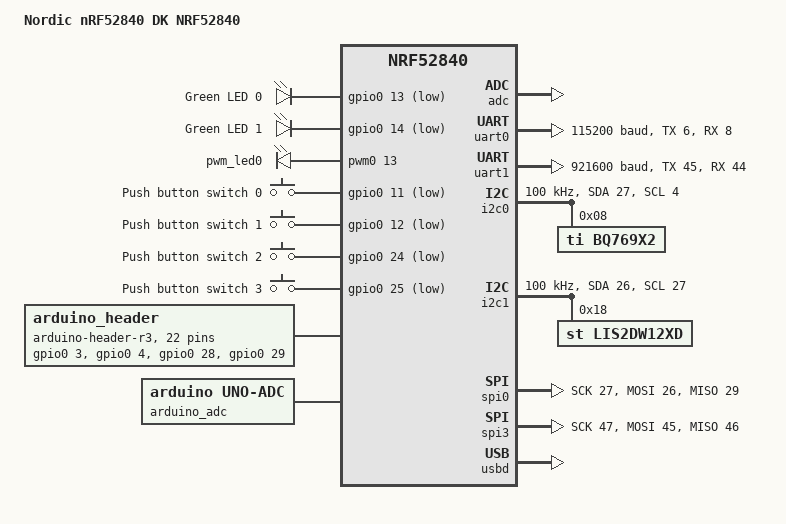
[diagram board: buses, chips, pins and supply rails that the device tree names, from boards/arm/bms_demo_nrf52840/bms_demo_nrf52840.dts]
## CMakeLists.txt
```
# SPDX-License-Identifier: Apache-2.0

cmake_minimum_required(VERSION 3.13.1)

set(BOARD_ROOT ${CMAKE_CURRENT_LIST_DIR})
set(BOARD bms_demo_nrf52840)

find_package(Zephyr REQUIRED HINTS $ENV{ZEPHYR_BASE})
project(bms_demo)

target_sources(app PRIVATE src/main.c)

# zephyr_library_include_directories(.)
zephyr_include_directories(
  src/include/drivers
#   configuration/${BOARD}
)

# Application sources
add_subdirectory(src/app)
add_subdirectory(src/drivers)



include_directories(src/app)
include_directories(src/drivers)
include_directories(src/app/st_mems1_datalogextended)

# Drivers directories
# add_subdirectory_ifdef(CONFIG_WATCHDOG_APPLICATION src/drivers/watchdog)
# add_subdirectory_ifdef(CONFIG_N58 src/drivers/nw_n58)
```

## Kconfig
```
source "Kconfig.zephyr"
rsource "src/drivers/Kconfig"

menu "Nordic UART BLE GATT service sample"

config BT_NUS_SECURITY_ENABLED
	bool "Enable security"
	default n
	select BT_SMP
	help
	  "Enable BLE security for the UART service"


endmenu
```

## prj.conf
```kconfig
# Make sure printk is not printing to the UART console
CONFIG_CONSOLE=y
CONFIG_UART_CONSOLE=y

CONFIG_HEAP_MEM_POOL_SIZE=18432

CONFIG_GPIO=y

####### BLE_UART #############
# # Enable the UART driver
# CONFIG_UART_ASYNC_API=y
# CONFIG_NRFX_UARTE0=y
# CONFIG_SERIAL=y

# CONFIG_BT=y
# CONFIG_BT_SMP=y
# CONFIG_BT_PERIPHERAL=y
# # CONFIG_BT_DEVICE_NAME="Nordic_UART_Service"
# CONFIG_BT_DEVICE_APPEARANCE=833
# CONFIG_BT_MAX_CONN=1
# CONFIG_BT_MAX_PAIRED=1
# CONFIG_BT_NUS_SECURITY_ENABLED=y

# # Enable the NUS service
# CONFIG_BT_NUS=y

# # Enable bonding
# CONFIG_BT_SETTINGS=y
# CONFIG_FLASH=y
# CONFIG_FLASH_PAGE_LAYOUT=y
# CONFIG_FLASH_MAP=y
# CONFIG_NVS=y
# CONFIG_SETTINGS=y
#############################

####### BLE #############
# Enable the UART driver
# CONFIG_UART_ASYNC_API=y
# CONFIG_NRFX_UARTE0=y
# CONFIG_SERIAL=y

CONFIG_BT=y
CONFIG_BT_SMP=y
CONFIG_BT_PERIPHERAL=y
# CONFIG_BT_DEVICE_NAME="Nordic_UART_Service"
CONFIG_BT_DEVICE_APPEARANCE=833
CONFIG_BT_MAX_CONN=1
CONFIG_BT_MAX_PAIRED=1
CONFIG_BT_NUS_SECURITY_ENABLED=y

# Enable the NUS service
CONFIG_BT_NUS=y

# Enable bonding
CONFIG_BT_SETTINGS=y
CONFIG_FLASH=y
CONFIG_FLASH_PAGE_LAYOUT=y
CONFIG_FLASH_MAP=y
CONFIG_NVS=y
CONFIG_SETTINGS=y
#############################

#bq769x2
# CONFIG_I2C=y
# CONFIG_SENSOR=y
# CONFIG_BQ769x2=y
# # CONFIG_BQ769x2_I2C_CRC_MODE=y
# CONFIG_BQ769x2_CONNECTING_CELLS=16


# uart
CONFIG_UART_ASYNC_API=y
CONFIG_NRFX_UARTE1=y
CONFIG_SERIAL=y


#lisdw12
# CONFIG_STDOUT_CONSOLE=y
CONFIG_I2C=y
CONFIG_SENSOR=y
CONFIG_SENSOR_LOG_LEVEL_DBG=y
# CONFIG_CBPRINTF_FP_SUPPORT=y

# CONFIG_LIS2DW12=y
# CONFIG_LIS2DW12_TRIGGER_NONE=y

CONFIG_LIS2DW12XD=y
CONFIG_LIS2DW12XD_TRIGGER_NONE=y

CONFIG_NEWLIB_LIBC=y

# #cat1
# # UART support
# CONFIG_SERIAL=y

# # GSM modem support
# # CONFIG_MODEM=y
# # CONFIG_MODEM_GSM_PPP=y
# # CONFIG_MODEM_GSM_UART_NAME="UART_1"

# CONFIG_MODEM_CAT1=y
# CONFIG_MODEM_CAT1_PPP=y
# CONFIG_MODEM_CAT1_UART_NAME="UART_1"
# # CONFIG_NET_PPP_UART_NAME="UART_1"
# CONFIG_CAT1_MODEM_DEVICE_NAME="MODEM_CAT11"


# Enable the MQTT Lib
# CONFIG_MQTT_LIB=y


# PPP networking support
# CONFIG_NET_PPP=y
# CONFIG_NET_L2_PPP=y
# CONFIG_NET_NATIVE=y
# CONFIG_NETWORKING=y

# CONFIG_NET_L2_PPP_TIMEOUT=10000
# IPv4 enables PPP IPCP support
# CONFIG_NET_IPV4=n #y
# CONFIG_NET_IPV6=n

# Network management events
# CONFIG_NET_CONNECTION_MANAGER=n #y

# Log buffers, modem and PPP
CONFIG_LOG=y
# CONFIG_NET_LOG=y
#CONFIG_LOG_BUFFER_SIZE=16384
#CONFIG_LOG_STRDUP_BUF_COUNT=200
# CONFIG_MODEM_LOG_LEVEL_DBG=y
# CONFIG_NET_PPP_LOG_LEVEL_DBG=y
#CONFIG_NET_L2_PPP_LOG_LEVEL_DBG=y
#CONFIG_NET_MGMT_EVENT_LOG_LEVEL_DBG=y
#CONFIG_NET_CONNECTION_MANAGER_LOG_LEVEL_DBG=y

# CONFIG_NET_SHELL=y
# CONFIG_MODEM_SHELL=y

# CONFIG_MODEM_CONTEXT=y

# Enable DK LED and Buttons library
CONFIG_DK_LIBRARY=y

# This example requires more workqueue stack
CONFIG_SYSTEM_WORKQUEUE_STACK_SIZE=2048

# Config logger
CONFIG_LOG=y
CONFIG_USE_SEGGER_RTT=y
CONFIG_LOG_BACKEND_RTT=y
CONFIG_LOG_BACKEND_UART=n
# - 0 OFF, do not write by default
# - 1 ERROR, default to only write LOG_LEVEL_ERR
# - 2 WARNING, default to write LOG_LEVEL_WRN
# - 3 INFO, default to write LOG_LEVEL_INFO
# - 4 DEBUG, default to write LOG_LEVEL_DBG
CONFIG_LOG_DEFAULT_LEVEL=4
CONFIG_LOG_BACKEND_SHOW_COLOR=y
CONFIG_LOG_BUFFER_SIZE=9126
CONFIG_LOG_MODE_DEFERRED=y
CONFIG_PRINTK=n


# CONFIG_BT_DEBUG_LOG=y
# CONFIG_BT_DBG_ENABLED=y
# CONFIG_BT_LOG_LEVEL_DBG=y

CONFIG_ASSERT=y
```

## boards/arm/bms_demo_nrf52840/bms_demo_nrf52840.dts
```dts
/*
 * Copyright (c) 2017 Linaro Limited
 *
 * SPDX-License-Identifier: Apache-2.0
 */

/dts-v1/;
#include <nordic/nrf52840_qiaa.dtsi>

/ {
	model = "Nordic nRF52840 DK NRF52840";
	compatible = "nordic,nrf52840-dk-nrf52840";

	chosen {
		zephyr,console = &uart0;
		zephyr,shell-uart = &uart0;
		zephyr,uart-mcumgr = &uart0;
		zephyr,bt-mon-uart = &uart0;
		zephyr,bt-c2h-uart = &uart0;
		zephyr,sram = &sram0;
		zephyr,flash = &flash0;
		zephyr,code-partition = &slot0_partition;
	};

	leds {
		compatible = "gpio-leds";
		// led0: led_0 {
		// 	gpios = <&gpio0 9 GPIO_ACTIVE_LOW>;
		// 	label = "Green LED 0";
		// };
		// led1: led_1 {
		// 	gpios = <&gpio0 10 GPIO_ACTIVE_LOW>;
		// 	label = "Green LED 1";
		// };
		led0: led_0 {
			gpios = <&gpio0 13 GPIO_ACTIVE_LOW>;
			label = "Green LED 0";
		};
		led1: led_1 {
			gpios = <&gpio0 14 GPIO_ACTIVE_LOW>;
			label = "Green LED 1";
		};
		// led2: led_2 {
		// 	gpios = <&gpio0 15 GPIO_ACTIVE_LOW>;
		// 	label = "Green LED 2";
		// };
		// led3: led_3 {
		// 	gpios = <&gpio0 16 GPIO_ACTIVE_LOW>;
		// 	label = "Green LED 3";
		// };
	};

	pwmleds {
		compatible = "pwm-leds";
		pwm_led0: pwm_led_0 {
			pwms = <&pwm0 13>;
		};
	};

	buttons {
		compatible = "gpio-keys";
		button0: button_0 {
			gpios = <&gpio0 11 (GPIO_PULL_UP | GPIO_ACTIVE_LOW)>;
			label = "Push button switch 0";
		};
		button1: button_1 {
			gpios = <&gpio0 12 (GPIO_PULL_UP | GPIO_ACTIVE_LOW)>;
			label = "Push button switch 1";
		};
		button2: button_2 {
			gpios = <&gpio0 24 (GPIO_PULL_UP | GPIO_ACTIVE_LOW)>;
			label = "Push button switch 2";
		};
		button3: button_3 {
			gpios = <&gpio0 25 (GPIO_PULL_UP | GPIO_ACTIVE_LOW)>;
			label = "Push button switch 3";
		};
	};

	arduino_header: connector {
		compatible = "arduino-header-r3";
		#gpio-cells = <2>;
		gpio-map-mask = <0xffffffff 0xffffffc0>;
		gpio-map-pass-thru = <0 0x3f>;
		gpio-map = <0 0 &gpio0 3 0>,	/* A0 */
			   <1 0 &gpio0 4 0>,	/* A1 */
			   <2 0 &gpio0 28 0>,	/* A2 */
			   <3 0 &gpio0 29 0>,	/* A3 */
			   <4 0 &gpio0 30 0>,	/* A4 */
			   <5 0 &gpio0 31 0>,	/* A5 */
			   <6 0 &gpio1 1 0>,	/* D0 */
			   <7 0 &gpio1 2 0>,	/* D1 */
			   <8 0 &gpio1 3 0>,	/* D2 */
			   <9 0 &gpio1 4 0>,	/* D3 */
			   <10 0 &gpio1 5 0>,	/* D4 */
			   <11 0 &gpio1 6 0>,	/* D5 */
			   <12 0 &gpio1 7 0>,	/* D6 */
			   <13 0 &gpio1 8 0>,	/* D7 */
			   <14 0 &gpio1 10 0>,	/* D8 */
			   <15 0 &gpio1 11 0>,	/* D9 */
			   <16 0 &gpio1 12 0>,	/* D10 */
			   <17 0 &gpio1 13 0>,	/* D11 */
			   <18 0 &gpio1 14 0>,	/* D12 */
			   <19 0 &gpio1 15 0>,	/* D13 */
			   <20 0 &gpio0 26 0>,	/* D14 */
			   <21 0 &gpio0 27 0>;	/* D15 */
	};

	arduino_adc: analog-connector {
		compatible = "arduino,uno-adc";
		#io-channel-cells = <1>;
		io-channel-map = <0 &adc 1>,	/* A0 = P0.3 = AIN1 */
				 <1 &adc 2>,	/* A1 = P0.4 = AIN2 */
				 <2 &adc 4>,	/* A2 = P0.28 = AIN4 */
				 <3 &adc 5>,	/* A3 = P0.29 = AIN5 */
				 <4 &adc 6>,	/* A4 = P0.30 = AIN6 */
				 <5 &adc 7>;	/* A5 = P0.31 = AIN7 */
	};

	/* These aliases are provided for compatibility with samples */
	aliases {
		led0 = &led0;
		led1 = &led1;
		// led2 = &led2;
		// led3 = &led3;
		pwm-led0 = &pwm_led0;
		sw0 = &button0;
		sw1 = &button1;
		sw2 = &button2;
		sw3 = &button3;
		bootloader-led0 = &led0;
	};
};

&adc {
	status = "okay";
};

&gpiote {
	status = "okay";
};

&gpio0 {
	status = "okay";
};

&gpio1 {
	status = "okay";
};

&uart0 {
	compatible = "nordic,nrf-uarte";
	status = "okay";
	current-speed = <115200>;
	tx-pin = <6>;
	rx-pin = <8>;
	rts-pin = <5>;
	cts-pin = <7>;
};

// arduino_serial: &uart1 {
// 	status = "okay";
// 	current-speed = <115200>;
// 	rx-pin = <33>;
// 	tx-pin = <34>;
// };

&uart1 {
	status = "okay";
	label = "UART_1";
	current-speed = <921600>;
	rx-pin = <44>;
	tx-pin = <45>;
	// rx-pin = <13>;
	// tx-pin = <14>;
	// n58 {
	// 	compatible = "nw,n58";
	// 	label = "n58";
	// 	cat1-pwr = < &gpio1 5 GPIO_ACTIVE_HIGH >;
	// };
	
	// cat1_wakeup: cat1_wakeup {
	// 	gpios = <&gpio0 12 GPIO_ACTIVE_HIGH>;
	// 	label = "cat1 wakeup control";
	// };
	// cat1_reset: cat1_reset {
	// 	gpios = <&gpio1 9 GPIO_ACTIVE_HIGH>;
	// 	label = "cat1 reset control";
	// };
};

// arduino_i2c: &i2c0 {
// 	compatible = "nordic,nrf-twi";
// 	status = "okay";
// 	sda-pin = <26>;
// 	scl-pin = <27>;
// };

&i2c0 {
	compatible = "nordic,nrf-twi";
	/* Cannot be used together with spi1. */
	status = "okay"; 
	sda-pin = <27>;
	scl-pin = <4>;

	clock-frequency = <I2C_BITRATE_STANDARD>;

	bq76952@8 {
		compatible = "ti,bq769x2";
		label = "BQ769x2";
		reg = <0x08>;
	};
};

&i2c1 {
	compatible = "nordic,nrf-twi";
	/* Cannot be used together with spi1. */
	status = "okay"; 
	sda-pin = <26>;
	scl-pin = <27>;

	clock-frequency = <I2C_BITRATE_STANDARD>;

	lis2dw12xd@18 {
		compatible = "st,lis2dw12xd";
		label = "LIS2DW12XD";
		reg = <0x18>;
		// irq-gpios =  <&gpio0 7 0>; 
		// int-pin = <1>;
	};

	// lis2dw12@18 {
	// 	compatible = "st,lis2dw12";
	// 	label = "LIS2DW12";
	// 	reg = <0x18>;
	// 	irq-gpios =  <&gpio0 7 0>; 
	// 	int-pin = <1>;
	// };
};

&pwm0 {
	status = "disabled";
	ch0-pin = <13>;
	ch0-inverted;
};

&spi0 {
	compatible = "nordic,nrf-spi";
	/* Cannot be used together with i2c0. */
	/* status = "okay"; */
	sck-pin = <27>;
	mosi-pin = <26>;
	miso-pin = <29>;
};

&spi1 {
	compatible = "nordic,nrf-spi";
	status = "disabled"; //"okay";
	sck-pin = <31>;
	mosi-pin = <30>;
	miso-pin = <40>;
};

&spi2 {
	compatible = "nordic,nrf-spi";
	status = "disabled";
	sck-pin = <19>;
	mosi-pin = <20>;
	miso-pin = <21>;
};

&qspi {
	status = "disabled";
	sck-pin = <19>;
	io-pins = <20>, <21>, <22>, <23>;
	csn-pins = <17>;
	mx25r64: mx25r6435f@0 {
		compatible = "nordic,qspi-nor";
		reg = <0>;
		/* MX24R64 supports only pp and pp4io */
		writeoc = "pp4io";
		/* MX24R64 supports all readoc options */
		readoc = "read4io";
		sck-frequency = <8000000>;
		label = "MX25R64";
		jedec-id = [c2 28 17];
		sfdp-bfp = [
			e5 20 f1 ff  ff ff ff 03  44 eb 08 6b  08 3b 04 bb
			ee ff ff ff  ff ff 00 ff  ff ff 00 ff  0c 20 0f 52
			10 d8 00 ff  23 72 f5 00  82 ed 04 cc  44 83 68 44
			30 b0 30 b0  f7 c4 d5 5c  00 be 29 ff  f0 d0 ff ff
		];
		size = <67108864>;
		has-dpd;
		t-enter-dpd = <10000>;
		t-exit-dpd = <35000>;
	};
};

arduino_spi: &spi3 {
	status = "okay";
	sck-pin = <47>;
	miso-pin = <46>;
	mosi-pin = <45>;
	cs-gpios = <&arduino_header 16 GPIO_ACTIVE_LOW>; /* D10 */
};

&flash0 {

	partitions {
		compatible = "fixed-partitions";
		#address-cells = <1>;
		#size-cells = <1>;

		boot_partition: partition@0 {
			label = "mcuboot";
			reg = <0x000000000 0x0000C000>;
		};
		slot0_partition: partition@c000 {
			label = "image-0";
			reg = <0x0000C000 0x00067000>;
		};
		slot1_partition: partition@73000 {
			label = "image-1";
			reg = <0x00073000 0x00067000>;
		};
		scratch_partition: partition@da000 {
			label = "image-scratch";
			reg = <0x000da000 0x0001e000>;
		};

		/*
		 * The flash starting at 0x000f8000 and ending at
		 * 0x000fffff is reserved for use by the application.
		 */

		/*
		 * Storage partition will be used by FCB/LittleFS/NVS
		 * if enabled.
		 */
		storage_partition: partition@f8000 {
			label = "storage";
			reg = <0x000f8000 0x00008000>;
		};
	};
};

&usbd {
	compatible = "nordic,nrf-usbd";
	status = "okay";
};
```

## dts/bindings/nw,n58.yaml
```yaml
description: Neoway N58 CAT1

compatible: "nw,n58"

include: uart-device.yaml

properties:
    cat1-pwr:
    type: phandle-array
    required: true
```

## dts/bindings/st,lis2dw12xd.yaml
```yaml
description: Texas Instruments lis2dw12xd Monitor

compatible: "st,lis2dw12xd"

include: i2c-device.yaml
```

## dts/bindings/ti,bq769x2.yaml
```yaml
#
# Copyright (c) 2020 Linumiz
#
# SPDX-License-Identifier: Apache-2.0
#

description: Texas Instruments BQ769x2 Monitor

compatible: "ti,bq769x2"

include: i2c-device.yaml
```

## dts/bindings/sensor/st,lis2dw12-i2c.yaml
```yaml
# Copyright (c) 2019 STMicroelectronics
# SPDX-License-Identifier: Apache-2.0

description: STMicroelectronics LIS2DW12XD 3-axis accelerometer

compatible: "st,lis2dw12"

include: ["i2c-device.yaml", "st,lis2dw12-common.yaml"]
```

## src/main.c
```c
#include <zephyr.h>
#include <sys/printk.h>

void main(void)
{
	// printk("Hello World! %s\n", CONFIG_BOARD);
}
```
